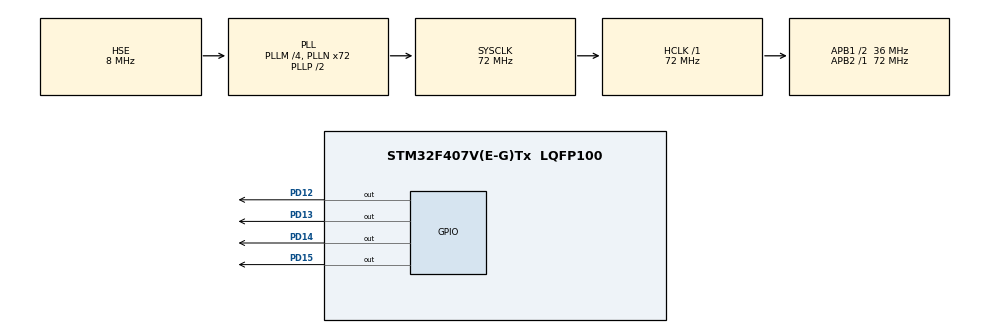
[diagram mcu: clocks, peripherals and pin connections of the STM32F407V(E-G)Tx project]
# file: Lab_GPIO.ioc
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Mcu.Family=STM32F4
Mcu.Name=STM32F407V(E-G)Tx
Mcu.Package=LQFP100
NVIC.PriorityGroup=NVIC_PRIORITYGROUP_4
NVIC.TIM2_IRQn=true\:0\:0\:false\:false\:true\:true\:true
PD12.GPIO_Speed=GPIO_SPEED_FREQ_VERY_HIGH
PD12.Signal=GPIO_Output
PD13.GPIO_Speed=GPIO_SPEED_FREQ_VERY_HIGH
PD13.Signal=GPIO_Output
PD14.GPIO_Speed=GPIO_SPEED_FREQ_VERY_HIGH
PD14.Signal=GPIO_Output
PD15.GPIO_Speed=GPIO_SPEED_FREQ_VERY_HIGH
PD15.Signal=GPIO_Output
PH0-OSC_IN.Mode=HSE-External-Oscillator
PH0-OSC_IN.Signal=RCC_OSC_IN
PH1-OSC_OUT.Mode=HSE-External-Oscillator
PH1-OSC_OUT.Signal=RCC_OSC_OUT
ProjectManager.HeapSize=0x200
ProjectManager.StackSize=0x400
ProjectManager.TargetToolchain=STM32CubeIDE
RCC.48MHZClocksFreq_Value=36000000
RCC.AHBFreq_Value=72000000
RCC.APB1CLKDivider=RCC_HCLK_DIV2
RCC.APB1Freq_Value=36000000
RCC.APB1TimFreq_Value=72000000
RCC.APB2Freq_Value=72000000
RCC.APB2TimFreq_Value=72000000
RCC.CortexFreq_Value=72000000
RCC.HCLKFreq_Value=72000000
RCC.HSE_VALUE=8000000
RCC.HSI_VALUE=16000000
RCC.LSE_VALUE=32768
RCC.PLLM=4
RCC.PLLN=72
RCC.PLLSourceVirtual=RCC_PLLSOURCE_HSE
RCC.SYSCLKFreq_VALUE=72000000
RCC.SYSCLKSource=RCC_SYSCLKSOURCE_PLLCLK
RCC.VCOOutputFreq_Value=144000000
TIM2.Period=35999
TIM2.Prescaler=1
VP_TIM2_VS_ClockSourceINT.Mode=Internal
board=custom

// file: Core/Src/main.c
/* USER CODE BEGIN Header */
/**
  ******************************************************************************
  * @file           : main.c
  * @brief          : Main program body
  ******************************************************************************
  * @attention
  *
  * Copyright (c) 2021 STMicroelectronics.
  * All rights reserved.
  *
  * This software is licensed under terms that can be found in the LICENSE file
  * in the root directory of this software component.
  * If no LICENSE file comes with this software, it is provided AS-IS.
  *
  ******************************************************************************
  */
/* USER CODE END Header */
#include "main.h"
#include "tim.h"
#include "gpio.h"

void SystemClock_Config(void);

/* USER CODE BEGIN 0 */
int main(void){
  HAL_Init();
  SystemClock_Config();
  MX_TIM2_Init();
  HAL_TIM_Base_Start_IT(&htim2);
  MX_GPIO_Init();

  while(1){

    timer2_wait_millisec(DELAY_MS);
    gpio_led_state( LED3_ORANGE_ID , 1); // turn on
    gpio_led_state( LED4_GREEN_ID , 1); // turn on
    gpio_led_state( LED5_RED_ID , 0); // turn off
    gpio_led_state( LED6_BLUE_ID , 0); // turn off

    timer2_wait_millisec(DELAY_MS);
    gpio_led_state( LED3_ORANGE_ID , 0); // turn off
    gpio_led_state( LED4_GREEN_ID , 0); // turn off
    gpio_led_state( LED5_RED_ID , 1); // turn on
    gpio_led_state( LED6_BLUE_ID , 1); // turn on
  }
}
/* USER CODE END 0 */

// int main(void)
//{

  /* MCU Configuration-------------------------------------------------------- */

  /* Reset of all peripherals, Initializes the Flash interface and the Systick. */
 // HAL_Init();

  /* Configure the system clock */
 // SystemClock_Config();

  /* Initialize all configured peripherals */
 // MX_GPIO_Init();
 // MX_TIM2_Init();

  /* Infinite loop */
  /* USER CODE BEGIN WHILE */
  //while (1)
 // {
    /* USER CODE END WHILE */

    /* USER CODE BEGIN 3 */
 // }
  /* USER CODE END 3 */
//}

void SystemClock_Config(void)
{
  RCC_OscInitTypeDef RCC_OscInitStruct = {0};
  RCC_ClkInitTypeDef RCC_ClkInitStruct = {0};

  /** Configure the main internal regulator output voltage
  */
  __HAL_RCC_PWR_CLK_ENABLE();
  __HAL_PWR_VOLTAGESCALING_CONFIG(PWR_REGULATOR_VOLTAGE_SCALE1);
  /** Initializes the RCC Oscillators according to the specified parameters
  * in the RCC_OscInitTypeDef structure.
  */
  RCC_OscInitStruct.OscillatorType = RCC_OSCILLATORTYPE_HSE;
  RCC_OscInitStruct.HSEState = RCC_HSE_ON;
  RCC_OscInitStruct.PLL.PLLState = RCC_PLL_ON;
  RCC_OscInitStruct.PLL.PLLSource = RCC_PLLSOURCE_HSE;
  RCC_OscInitStruct.PLL.PLLM = 4;
  RCC_OscInitStruct.PLL.PLLN = 72;
  RCC_OscInitStruct.PLL.PLLP = RCC_PLLP_DIV2;
  RCC_OscInitStruct.PLL.PLLQ = 4;
  if (HAL_RCC_OscConfig(&RCC_OscInitStruct) != HAL_OK)
  {
    Error_Handler();
  }
  /** Initializes the CPU, AHB and APB buses clocks
  */
  RCC_ClkInitStruct.ClockType = RCC_CLOCKTYPE_HCLK|RCC_CLOCKTYPE_SYSCLK
                              |RCC_CLOCKTYPE_PCLK1|RCC_CLOCKTYPE_PCLK2;
  RCC_ClkInitStruct.SYSCLKSource = RCC_SYSCLKSOURCE_PLLCLK;
  RCC_ClkInitStruct.AHBCLKDivider = RCC_SYSCLK_DIV1;
  RCC_ClkInitStruct.APB1CLKDivider = RCC_HCLK_DIV2;
  RCC_ClkInitStruct.APB2CLKDivider = RCC_HCLK_DIV1;

  if (HAL_RCC_ClockConfig(&RCC_ClkInitStruct, FLASH_LATENCY_2) != HAL_OK)
  {
    Error_Handler();
  }
}

void Error_Handler(void)
{
  __disable_irq();
  while (1)
  {
  }
}
